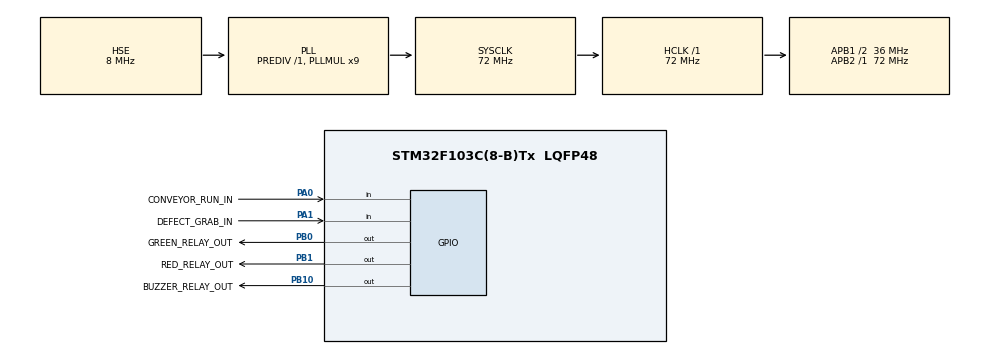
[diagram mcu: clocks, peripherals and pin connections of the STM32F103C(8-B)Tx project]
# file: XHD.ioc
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Mcu.Family=STM32F1
Mcu.Name=STM32F103C(8-B)Tx
Mcu.Package=LQFP48
NVIC.PriorityGroup=NVIC_PRIORITYGROUP_4
PA0-WKUP.GPIO_Label=CONVEYOR_RUN_IN
PA0-WKUP.GPIO_PuPd=GPIO_PULLDOWN
PA0-WKUP.Signal=GPIO_Input
PA1.GPIO_Label=DEFECT_GRAB_IN
PA1.GPIO_PuPd=GPIO_PULLDOWN
PA1.Signal=GPIO_Input
PA13.Mode=Serial_Wire
PA13.Signal=SYS_JTMS-SWDIO
PA14.Mode=Serial_Wire
PA14.Signal=SYS_JTCK-SWCLK
PB0.GPIO_Label=GREEN_RELAY_OUT
PB0.Signal=GPIO_Output
PB1.GPIO_Label=RED_RELAY_OUT
PB1.Signal=GPIO_Output
PB10.GPIO_Label=BUZZER_RELAY_OUT
PB10.Signal=GPIO_Output
PD0-OSC_IN.Mode=HSE-External-Oscillator
PD0-OSC_IN.Signal=RCC_OSC_IN
PD1-OSC_OUT.Mode=HSE-External-Oscillator
PD1-OSC_OUT.Signal=RCC_OSC_OUT
ProjectManager.HeapSize=0x200
ProjectManager.StackSize=0x400
ProjectManager.TargetToolchain=MDK-ARM V5.32
RCC.AHBFreq_Value=72000000
RCC.APB1CLKDivider=RCC_HCLK_DIV2
RCC.APB1Freq_Value=36000000
RCC.APB1TimFreq_Value=72000000
RCC.APB2Freq_Value=72000000
RCC.APB2TimFreq_Value=72000000
RCC.EnbaleCSS=true
RCC.HCLKFreq_Value=72000000
RCC.PLLMUL=RCC_PLL_MUL9
RCC.PLLSourceVirtual=RCC_PLLSOURCE_HSE
RCC.SYSCLKFreq_VALUE=72000000
RCC.SYSCLKSource=RCC_SYSCLKSOURCE_PLLCLK
RCC.USBFreq_Value=72000000
board=custom

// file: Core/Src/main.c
/* USER CODE BEGIN Header */
/**
  ******************************************************************************
  * @file           : main.c
  * @brief          : Main program body
  ******************************************************************************
  * @attention
  *
  * Copyright (c) 2026 STMicroelectronics.
  * All rights reserved.
  *
  * This software is licensed under terms that can be found in the LICENSE file
  * in the root directory of this software component.
  * If no LICENSE file comes with this software, it is provided AS-IS.
  *
  ******************************************************************************
  */
/* USER CODE END Header */
#include "main.h"
#include "gpio.h"

/* USER CODE BEGIN PTD */

typedef enum
{
  INDICATOR_OFF = 0,
  INDICATOR_RUNNING,
  INDICATOR_DEFECT,
  INDICATOR_INVALID
} IndicatorMode;

typedef struct
{
  uint8_t score;
  GPIO_PinState stable_state;
} LevelFilter;

/* USER CODE END PTD */

/* USER CODE BEGIN PD */

/*
 * 独立报警灯控制板信号定义：
 * PA0 <- Jetson GPIO01（传送带正常运行状态）
 * PA1 <- Jetson GPIO07（检测到缺陷件并进入夹取流程）
 * PB0 -> 1号继电器（绿灯）
 * PB1 -> 2号继电器（红灯）
 * PB10 -> 3号继电器（蜂鸣器）
 */
#define CONVEYOR_RUN_INPUT_PIN  GPIO_PIN_0
#define DEFECT_GRAB_INPUT_PIN   GPIO_PIN_1

#define RELAY_GREEN_PIN         GPIO_PIN_0
#define RELAY_RED_PIN           GPIO_PIN_1
#define RELAY_BUZZER_PIN        GPIO_PIN_10
#define RELAY_ALL_PINS          (RELAY_GREEN_PIN | RELAY_RED_PIN | \
                                 RELAY_BUZZER_PIN)

/* 默认按高电平触发继电器编写；若实测为低电平触发，交换这两个定义。 */
#define RELAY_ON_LEVEL      GPIO_PIN_SET
#define RELAY_OFF_LEVEL     GPIO_PIN_RESET

#define STATUS_SCAN_TIME_MS       10U
#define RUN_CONFIRM_SAMPLES       60U  /* 运行编码连续稳定600 ms才生效 */
#define DEFECT_CONFIRM_SAMPLES    80U  /* 缺陷编码连续稳定800 ms才报警 */
#define OFF_CONFIRM_SAMPLES       80U  /* 双低连续稳定800 ms才全部关闭 */
#define STARTUP_LOCK_MS           2000U
#define STARTUP_LOW_SAMPLES       50U  /* 解锁前要求双低稳定500 ms */
#define INPUT_FILTER_MAX          8U
#define INPUT_FILTER_HIGH         6U   /* 输入连续约60 ms才认定为高 */
#define INPUT_FILTER_LOW          2U   /* 输入连续约20 ms才认定为低 */
#define MODE_HOLD_MS              400U

/* USER CODE END PD */

/* USER CODE BEGIN PV */

static IndicatorMode current_indicator_mode = INDICATOR_OFF;
static IndicatorMode pending_indicator_mode = INDICATOR_INVALID;
static uint16_t pending_mode_count = 0U;
static LevelFilter conveyor_run_filter = {0U, GPIO_PIN_RESET};
static LevelFilter defect_grab_filter = {0U, GPIO_PIN_RESET};
static uint32_t startup_tick = 0U;
static uint16_t startup_low_count = 0U;
static uint8_t startup_ready = 0U;
static uint32_t mode_hold_until = 0U;

/* USER CODE END PV */

void SystemClock_Config(void);

/* USER CODE BEGIN 0 */

static void Relay_AllOff(void)
{
  HAL_GPIO_WritePin(GPIOB, RELAY_ALL_PINS, RELAY_OFF_LEVEL);
}

static void Relay_SetState(GPIO_PinState green,
                           GPIO_PinState red,
                           GPIO_PinState buzzer)
{
  HAL_GPIO_WritePin(GPIOB, RELAY_GREEN_PIN, green);
  HAL_GPIO_WritePin(GPIOB, RELAY_RED_PIN, red);
  HAL_GPIO_WritePin(GPIOB, RELAY_BUZZER_PIN, buzzer);
}

static GPIO_PinState LevelFilter_Update(LevelFilter *filter,
                                        GPIO_PinState raw_state)
{
  if (raw_state == GPIO_PIN_SET)
  {
    if (filter->score < INPUT_FILTER_MAX)
    {
      filter->score++;
    }
  }
  else if (filter->score > 0U)
  {
    filter->score--;
  }

  if (filter->score >= INPUT_FILTER_HIGH)
  {
    filter->stable_state = GPIO_PIN_SET;
  }
  else if (filter->score <= INPUT_FILTER_LOW)
  {
    filter->stable_state = GPIO_PIN_RESET;
  }

  return filter->stable_state;
}

static IndicatorMode Indicator_DecodeInputs(GPIO_PinState conveyor_running,
                                             GPIO_PinState defect_grabbing)
{
  if ((conveyor_running == GPIO_PIN_SET) &&
      (defect_grabbing == GPIO_PIN_RESET))
  {
    return INDICATOR_RUNNING;
  }

  if ((conveyor_running == GPIO_PIN_RESET) &&
      (defect_grabbing == GPIO_PIN_SET))
  {
    return INDICATOR_DEFECT;
  }

  if ((conveyor_running == GPIO_PIN_RESET) &&
      (defect_grabbing == GPIO_PIN_RESET))
  {
    return INDICATOR_OFF;
  }

  /* 双高不是有效命令，通常是串扰或切换毛刺。 */
  return INDICATOR_INVALID;
}

static uint16_t Indicator_ConfirmSamples(IndicatorMode mode)
{
  if (mode == INDICATOR_DEFECT)
  {
    return DEFECT_CONFIRM_SAMPLES;
  }

  if (mode == INDICATOR_RUNNING)
  {
    return RUN_CONFIRM_SAMPLES;
  }

  return OFF_CONFIRM_SAMPLES;
}

static void Indicator_ApplyMode(IndicatorMode mode)
{
  if (mode == current_indicator_mode)
  {
    return;
  }

  if (mode == INDICATOR_DEFECT)
  {
    Relay_SetState(RELAY_OFF_LEVEL, RELAY_ON_LEVEL, RELAY_ON_LEVEL);
  }
  else if (mode == INDICATOR_RUNNING)
  {
    Relay_SetState(RELAY_ON_LEVEL, RELAY_OFF_LEVEL, RELAY_OFF_LEVEL);
  }
  else
  {
    Relay_AllOff();
  }

  current_indicator_mode = mode;
  mode_hold_until = HAL_GetTick() + MODE_HOLD_MS;
}

static void Indicator_Update(void)
{
  GPIO_PinState raw_conveyor_running;
  GPIO_PinState raw_defect_grabbing;
  GPIO_PinState conveyor_running;
  GPIO_PinState defect_grabbing;
  IndicatorMode sampled_mode;
  uint16_t required_samples;
  uint32_t now = HAL_GetTick();

  raw_conveyor_running = HAL_GPIO_ReadPin(GPIOA, CONVEYOR_RUN_INPUT_PIN);
  raw_defect_grabbing = HAL_GPIO_ReadPin(GPIOA, DEFECT_GRAB_INPUT_PIN);

  /* 上电先保持安全状态，并等待两路输入回到双低后再解锁。 */
  if (startup_ready == 0U)
  {
    Relay_AllOff();
    current_indicator_mode = INDICATOR_OFF;
    pending_indicator_mode = INDICATOR_INVALID;
    pending_mode_count = 0U;

    if ((uint32_t)(now - startup_tick) < STARTUP_LOCK_MS)
    {
      return;
    }

    if ((raw_conveyor_running == GPIO_PIN_RESET) &&
        (raw_defect_grabbing == GPIO_PIN_RESET))
    {
      if (startup_low_count < STARTUP_LOW_SAMPLES)
      {
        startup_low_count++;
      }
      if (startup_low_count >= STARTUP_LOW_SAMPLES)
      {
        startup_ready = 1U;
      }
    }
    else
    {
      startup_low_count = 0U;
    }
    return;
  }

  conveyor_running = LevelFilter_Update(&conveyor_run_filter,
                                        raw_conveyor_running);
  defect_grabbing = LevelFilter_Update(&defect_grab_filter,
                                       raw_defect_grabbing);
  sampled_mode = Indicator_DecodeInputs(conveyor_running, defect_grabbing);

  if ((int32_t)(now - mode_hold_until) < 0)
  {
    return;
  }

  /* 无效双高或任何采样跳变都会取消本轮确认，并保持现有输出。 */
  if (sampled_mode == INDICATOR_INVALID)
  {
    pending_indicator_mode = INDICATOR_INVALID;
    pending_mode_count = 0U;
    return;
  }

  if (sampled_mode == current_indicator_mode)
  {
    pending_indicator_mode = INDICATOR_INVALID;
    pending_mode_count = 0U;
    return;
  }

  if (sampled_mode != pending_indicator_mode)
  {
    pending_indicator_mode = sampled_mode;
    pending_mode_count = 1U;
    return;
  }

  required_samples = Indicator_ConfirmSamples(sampled_mode);
  if (pending_mode_count < required_samples)
  {
    pending_mode_count++;
  }

  if (pending_mode_count >= required_samples)
  {
    Indicator_ApplyMode(sampled_mode);
    pending_indicator_mode = INDICATOR_INVALID;
    pending_mode_count = 0U;
  }
}

/* USER CODE END 0 */

int main(void)
{

  /* MCU Configuration--------------------------------------------------------*/

  /* Reset of all peripherals, Initializes the Flash interface and the Systick. */
  HAL_Init();

  /* Configure the system clock */
  SystemClock_Config();

  /* Initialize all configured peripherals */
  MX_GPIO_Init();
  /* USER CODE BEGIN 2 */

  /* 上电安全状态：绿灯、红灯和蜂鸣器全部关闭。 */
  Relay_AllOff();
  startup_tick = HAL_GetTick();

  /* USER CODE END 2 */

  /* Infinite loop */
  /* USER CODE BEGIN WHILE */
  while (1)
  {
    Indicator_Update();
    HAL_Delay(STATUS_SCAN_TIME_MS);

    /* USER CODE END WHILE */

  }
}

void SystemClock_Config(void)
{
  RCC_OscInitTypeDef RCC_OscInitStruct = {0};
  RCC_ClkInitTypeDef RCC_ClkInitStruct = {0};

  /** Initializes the RCC Oscillators according to the specified parameters
  * in the RCC_OscInitTypeDef structure.
  */
  RCC_OscInitStruct.OscillatorType = RCC_OSCILLATORTYPE_HSE;
  RCC_OscInitStruct.HSEState = RCC_HSE_ON;
  RCC_OscInitStruct.HSEPredivValue = RCC_HSE_PREDIV_DIV1;
  RCC_OscInitStruct.HSIState = RCC_HSI_ON;
  RCC_OscInitStruct.PLL.PLLState = RCC_PLL_ON;
  RCC_OscInitStruct.PLL.PLLSource = RCC_PLLSOURCE_HSE;
  RCC_OscInitStruct.PLL.PLLMUL = RCC_PLL_MUL9;
  if (HAL_RCC_OscConfig(&RCC_OscInitStruct) != HAL_OK)
  {
    Error_Handler();
  }

  /** Initializes the CPU, AHB and APB buses clocks
  */
  RCC_ClkInitStruct.ClockType = RCC_CLOCKTYPE_HCLK|RCC_CLOCKTYPE_SYSCLK
                              |RCC_CLOCKTYPE_PCLK1|RCC_CLOCKTYPE_PCLK2;
  RCC_ClkInitStruct.SYSCLKSource = RCC_SYSCLKSOURCE_PLLCLK;
  RCC_ClkInitStruct.AHBCLKDivider = RCC_SYSCLK_DIV1;
  RCC_ClkInitStruct.APB1CLKDivider = RCC_HCLK_DIV2;
  RCC_ClkInitStruct.APB2CLKDivider = RCC_HCLK_DIV1;

  if (HAL_RCC_ClockConfig(&RCC_ClkInitStruct, FLASH_LATENCY_2) != HAL_OK)
  {
    Error_Handler();
  }

  /** Enables the Clock Security System
  */
  HAL_RCC_EnableCSS();
}

void Error_Handler(void)
{
  __disable_irq();
  while (1)
  {
  }
}
